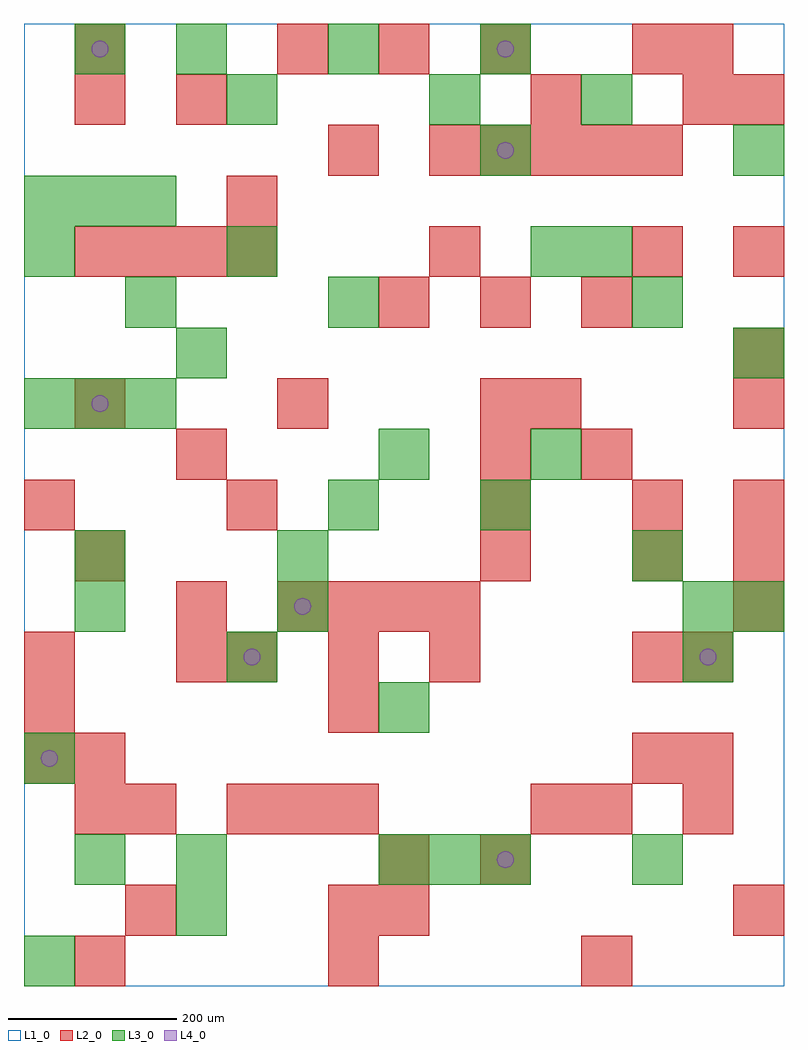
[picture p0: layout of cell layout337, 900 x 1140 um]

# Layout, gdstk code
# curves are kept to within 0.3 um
import gdstk
lib = gdstk.Library(unit=1e-6, precision=1e-09)
def R(c, l, rs):  # rectangles x0, y0, x1, y1
    for r in rs: c.add(gdstk.rectangle(r[:2], r[2:], *l))
def A(c, l, x, y, w, h, nx, ny, dx, dy):  # array of equal rectangles
    R(c, l, [(x+i*dx, y+j*dy, x+i*dx+w, y+j*dy+h) for i in range(nx) for j in range(ny)])
def P(c, l, *ps):  # polygons
    for p in ps: c.add(gdstk.Polygon(p, *l))
L1_0 = (1, 0)
L2_0 = (2, 0)
L3_0 = (3, 0)
L4_0 = (4, 0)

layout337 = lib.new_cell('layout337')
R(layout337, L1_0, [(0,0,900,1140)])
A(layout337, L2_0, 60, 0, 60, 60, 3, 1, 300, 0)
A(layout337, L2_0, 240, 180, 60, 60, 3, 1, 60, 0)
A(layout337, L2_0, 0, 240, 60, 60, 1, 3, 0, 60)
A(layout337, L2_0, 720, 240, 60, 60, 1, 3, 0, 120)
A(layout337, L2_0, 240, 360, 60, 60, 3, 1, 120, 0)
A(layout337, L2_0, 300, 420, 60, 60, 4, 1, 60, 0)
A(layout337, L2_0, 840, 420, 60, 60, 1, 3, 0, 60)
A(layout337, L2_0, 540, 480, 60, 60, 1, 3, 0, 60)
A(layout337, L2_0, 60, 660, 60, 60, 3, 1, 240, 0)
A(layout337, L2_0, 420, 780, 60, 60, 3, 1, 120, 0)
A(layout337, L2_0, 60, 840, 60, 60, 4, 1, 60, 0)
A(layout337, L2_0, 480, 960, 60, 60, 5, 1, 60, 0)
A(layout337, L2_0, 300, 1080, 60, 60, 3, 1, 120, 0)
R(layout337, L2_0, [(120,60,180,120), (360,60,420,120), (420,60,480,120), (840,60,900,120), (420,120,480,180), (540,120,600,180), (60,180,120,240), (120,180,180,240), (600,180,660,240), (660,180,720,240), (780,180,840,240), (60,240,120,300), (780,240,840,300), (360,300,420,360), (180,360,240,420), (780,360,840,420), (180,420,240,480), (60,480,120,540), (0,540,60,600), (240,540,300,600), (720,540,780,600), (180,600,240,660), (660,600,720,660), (600,660,660,720), (840,660,900,720), (840,720,900,780), (480,840,540,900), (720,840,780,900), (840,840,900,900), (240,900,300,960), (360,960,420,1020), (60,1020,120,1080), (180,1020,240,1080), (600,1020,660,1080), (780,1020,840,1080), (840,1020,900,1080), (60,1080,120,1140), (720,1080,780,1140), (780,1080,840,1140)])
A(layout337, L3_0, 420, 120, 60, 60, 3, 1, 60, 0)
A(layout337, L3_0, 0, 660, 60, 60, 3, 2, 60, 240)
A(layout337, L3_0, 180, 1080, 60, 60, 3, 1, 180, 0)
R(layout337, L3_0, [(0,0,60,60), (180,60,240,120), (60,120,120,180), (180,120,240,180), (720,120,780,180), (0,240,60,300), (420,300,480,360), (240,360,300,420), (780,360,840,420), (60,420,120,480), (300,420,360,480), (780,420,840,480), (840,420,900,480), (60,480,120,540), (300,480,360,540), (720,480,780,540), (360,540,420,600), (540,540,600,600), (420,600,480,660), (600,600,660,660), (180,720,240,780), (840,720,900,780), (120,780,180,840), (360,780,420,840), (720,780,780,840), (0,840,60,900), (240,840,300,900), (600,840,660,900), (660,840,720,900), (540,960,600,1020), (840,960,900,1020), (240,1020,300,1080), (480,1020,540,1080), (660,1020,720,1080), (60,1080,120,1140)])
P(layout337, L4_0, [(40,270),(39.239,273.827),(37.071,277.071),(33.827,279.239),(30,280),(26.173,279.239),(22.929,277.071),(20.761,273.827),(20,270),(20.761,266.173),(22.929,262.929),(26.173,260.761),(30,260),(33.827,260.761),(37.071,262.929),(39.239,266.173)],
  [(100,690),(99.239,693.827),(97.071,697.071),(93.827,699.239),(90,700),(86.173,699.239),(82.929,697.071),(80.761,693.827),(80,690),(80.761,686.173),(82.929,682.929),(86.173,680.761),(90,680),(93.827,680.761),(97.071,682.929),(99.239,686.173)],
  [(100,1110),(99.239,1113.827),(97.071,1117.071),(93.827,1119.239),(90,1120),(86.173,1119.239),(82.929,1117.071),(80.761,1113.827),(80,1110),(80.761,1106.173),(82.929,1102.929),(86.173,1100.761),(90,1100),(93.827,1100.761),(97.071,1102.929),(99.239,1106.173)],
  [(280,390),(279.239,393.827),(277.071,397.071),(273.827,399.239),(270,400),(266.173,399.239),(262.929,397.071),(260.761,393.827),(260,390),(260.761,386.173),(262.929,382.929),(266.173,380.761),(270,380),(273.827,380.761),(277.071,382.929),(279.239,386.173)],
  [(340,450),(339.239,453.827),(337.071,457.071),(333.827,459.239),(330,460),(326.173,459.239),(322.929,457.071),(320.761,453.827),(320,450),(320.761,446.173),(322.929,442.929),(326.173,440.761),(330,440),(333.827,440.761),(337.071,442.929),(339.239,446.173)],
  [(580,150),(579.239,153.827),(577.071,157.071),(573.827,159.239),(570,160),(566.173,159.239),(562.929,157.071),(560.761,153.827),(560,150),(560.761,146.173),(562.929,142.929),(566.173,140.761),(570,140),(573.827,140.761),(577.071,142.929),(579.239,146.173)],
  [(580,990),(579.239,993.827),(577.071,997.071),(573.827,999.239),(570,1000),(566.173,999.239),(562.929,997.071),(560.761,993.827),(560,990),(560.761,986.173),(562.929,982.929),(566.173,980.761),(570,980),(573.827,980.761),(577.071,982.929),(579.239,986.173)],
  [(580,1110),(579.239,1113.827),(577.071,1117.071),(573.827,1119.239),(570,1120),(566.173,1119.239),(562.929,1117.071),(560.761,1113.827),(560,1110),(560.761,1106.173),(562.929,1102.929),(566.173,1100.761),(570,1100),(573.827,1100.761),(577.071,1102.929),(579.239,1106.173)],
  [(820,390),(819.239,393.827),(817.071,397.071),(813.827,399.239),(810,400),(806.173,399.239),(802.929,397.071),(800.761,393.827),(800,390),(800.761,386.173),(802.929,382.929),(806.173,380.761),(810,380),(813.827,380.761),(817.071,382.929),(819.239,386.173)])

lib.write_gds('layout337.gds')
